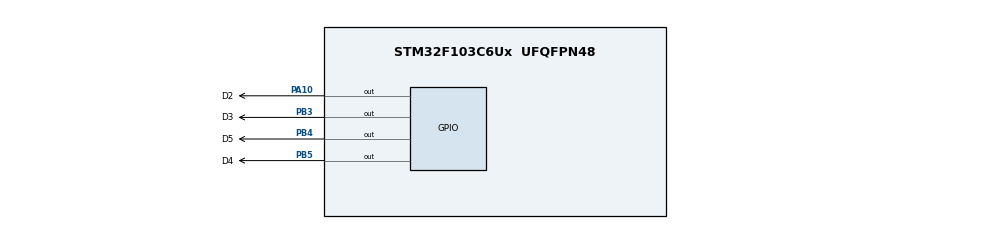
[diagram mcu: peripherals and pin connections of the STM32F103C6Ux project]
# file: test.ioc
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Mcu.Family=STM32F1
Mcu.Name=STM32F103C6Ux
Mcu.Package=UFQFPN48
NVIC.PriorityGroup=NVIC_PRIORITYGROUP_4
PA10.GPIO_Label=D2
PA10.Signal=GPIO_Output
PB3.GPIO_Label=D3
PB3.Signal=GPIO_Output
PB4.GPIO_Label=D5
PB4.Signal=GPIO_Output
PB5.GPIO_Label=D4
PB5.Signal=GPIO_Output
ProjectManager.HeapSize=0x200
ProjectManager.StackSize=0x400
ProjectManager.TargetToolchain=STM32CubeIDE
RCC.APB1Freq_Value=8000000
RCC.APB2Freq_Value=8000000
VP_SYS_VS_ND.Mode=No_Debug
board=custom

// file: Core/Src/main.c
/* USER CODE BEGIN Header */
/**
  ******************************************************************************
  * @file           : main.c
  * @brief          : Main program body
  ******************************************************************************
  * @attention
  *
  * <h2><center>&copy; Copyright (c) 2022 STMicroelectronics.
  * All rights reserved.</center></h2>
  *
  * This software component is licensed by ST under BSD 3-Clause license,
  * the "License"; You may not use this file except in compliance with the
  * License. You may obtain a copy of the License at:
  *                        opensource.org/licenses/BSD-3-Clause
  *
  ******************************************************************************
  */
/* USER CODE END Header */
#include "main.h"

void SystemClock_Config(void);
static void MX_GPIO_Init(void);

int main(void)
{

  /* MCU Configuration--------------------------------------------------------*/

  /* Reset of all peripherals, Initializes the Flash interface and the Systick. */
  HAL_Init();

  /* Configure the system clock */
  SystemClock_Config();

  /* Initialize all configured peripherals */
  MX_GPIO_Init();

  /* Infinite loop */
  /* USER CODE BEGIN WHILE */
  while (1)
  {
	  /*HAL_GPIO_WritePin(D2_GPIO_Port, D2_Pin, SET);
  	  HAL_GPIO_WritePin(GPIOB, D3_Pin, RESET);
  	  HAL_Delay(5000);

  	  HAL_GPIO_WritePin(D2_GPIO_Port, D2_Pin, RESET);
  	  HAL_GPIO_WritePin(GPIOB, D3_Pin, SET);
  	  HAL_Delay(3000);

  	  HAL_GPIO_WritePin(D2_GPIO_Port, D2_Pin, GPIO_PIN_SET);
  	  HAL_GPIO_WritePin(GPIOB, D3_Pin, GPIO_PIN_SET);
  	  HAL_Delay(2000);*/

	  	  HAL_GPIO_WritePin(D2_GPIO_Port, D2_Pin, SET);
  		  HAL_GPIO_WritePin(GPIOB, D5_Pin, SET);
  		  HAL_Delay(3000);

  		  HAL_GPIO_WritePin(D2_GPIO_Port, D2_Pin, SET);
  		  HAL_GPIO_WritePin(GPIOB, D4_Pin|D5_Pin, SET);
  		  HAL_Delay(2000);

  		  HAL_GPIO_WritePin(GPIOB, D4_Pin, SET);
  		  HAL_GPIO_WritePin(GPIOB, D3_Pin, SET);
  		  HAL_GPIO_WritePin(D2_GPIO_Port, D2_Pin, RESET);
  		  HAL_Delay(3000);

  		  HAL_GPIO_WritePin(GPIOB, D4_Pin, SET);
  		  HAL_GPIO_WritePin(D2_GPIO_Port, D2_Pin, SET);
  		  HAL_GPIO_WritePin(GPIOB, D3_Pin,SET);
  		  HAL_GPIO_WritePin(GPIOB, D3_Pin, RESET);
  		  HAL_Delay(2000);

  		  HAL_GPIO_WritePin(D2_GPIO_Port, D2_Pin, RESET);
  		  HAL_GPIO_WritePin(GPIOB, D3_Pin, RESET);
  		  HAL_GPIO_WritePin(GPIOB, D4_Pin, RESET);
    /* USER CODE END WHILE */

  }
}

void SystemClock_Config(void)
{
  RCC_OscInitTypeDef RCC_OscInitStruct = {0};
  RCC_ClkInitTypeDef RCC_ClkInitStruct = {0};

  /** Initializes the RCC Oscillators according to the specified parameters
  * in the RCC_OscInitTypeDef structure.
  */
  RCC_OscInitStruct.OscillatorType = RCC_OSCILLATORTYPE_HSI;
  RCC_OscInitStruct.HSIState = RCC_HSI_ON;
  RCC_OscInitStruct.HSICalibrationValue = RCC_HSICALIBRATION_DEFAULT;
  RCC_OscInitStruct.PLL.PLLState = RCC_PLL_NONE;
  if (HAL_RCC_OscConfig(&RCC_OscInitStruct) != HAL_OK)
  {
    Error_Handler();
  }
  /** Initializes the CPU, AHB and APB buses clocks
  */
  RCC_ClkInitStruct.ClockType = RCC_CLOCKTYPE_HCLK|RCC_CLOCKTYPE_SYSCLK
                              |RCC_CLOCKTYPE_PCLK1|RCC_CLOCKTYPE_PCLK2;
  RCC_ClkInitStruct.SYSCLKSource = RCC_SYSCLKSOURCE_HSI;
  RCC_ClkInitStruct.AHBCLKDivider = RCC_SYSCLK_DIV1;
  RCC_ClkInitStruct.APB1CLKDivider = RCC_HCLK_DIV1;
  RCC_ClkInitStruct.APB2CLKDivider = RCC_HCLK_DIV1;

  if (HAL_RCC_ClockConfig(&RCC_ClkInitStruct, FLASH_LATENCY_0) != HAL_OK)
  {
    Error_Handler();
  }
}

static void MX_GPIO_Init(void)
{
  GPIO_InitTypeDef GPIO_InitStruct = {0};

  /* GPIO Ports Clock Enable */
  __HAL_RCC_GPIOA_CLK_ENABLE();
  __HAL_RCC_GPIOB_CLK_ENABLE();

  /*Configure GPIO pin Output Level */
  HAL_GPIO_WritePin(D2_GPIO_Port, D2_Pin, GPIO_PIN_RESET);

  /*Configure GPIO pin Output Level */
  HAL_GPIO_WritePin(GPIOB, D3_Pin|D5_Pin|D4_Pin, GPIO_PIN_RESET);

  /*Configure GPIO pin : D2_Pin */
  GPIO_InitStruct.Pin = D2_Pin;
  GPIO_InitStruct.Mode = GPIO_MODE_OUTPUT_PP;
  GPIO_InitStruct.Pull = GPIO_NOPULL;
  GPIO_InitStruct.Speed = GPIO_SPEED_FREQ_LOW;
  HAL_GPIO_Init(D2_GPIO_Port, &GPIO_InitStruct);

  /*Configure GPIO pins : D3_Pin D5_Pin D4_Pin */
  GPIO_InitStruct.Pin = D3_Pin|D5_Pin|D4_Pin;
  GPIO_InitStruct.Mode = GPIO_MODE_OUTPUT_PP;
  GPIO_InitStruct.Pull = GPIO_NOPULL;
  GPIO_InitStruct.Speed = GPIO_SPEED_FREQ_LOW;
  HAL_GPIO_Init(GPIOB, &GPIO_InitStruct);

}

void Error_Handler(void)
{
  __disable_irq();
  while (1)
  {
  }
}

/************************ (C) COPYRIGHT STMicroelectronics *****END OF FILE****/
